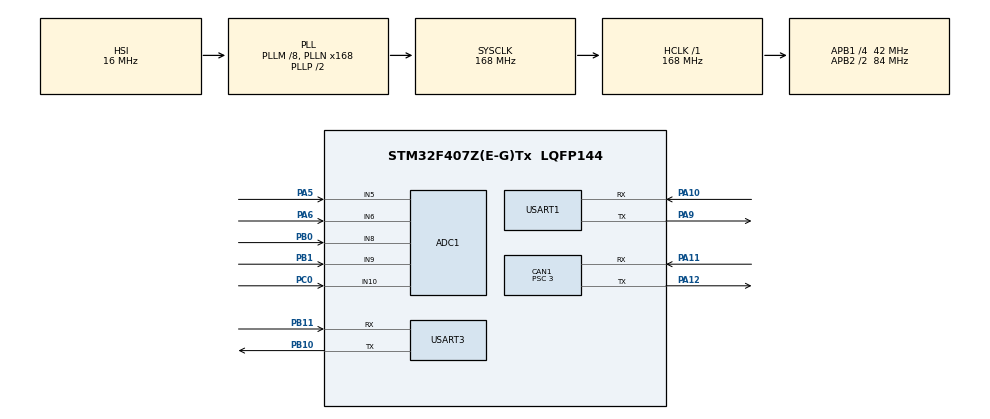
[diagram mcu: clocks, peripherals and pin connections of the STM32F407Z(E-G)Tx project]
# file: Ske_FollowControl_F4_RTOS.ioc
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ADC1.Channel-12\#ChannelRegularConversion=ADC_CHANNEL_5
ADC1.Channel-13\#ChannelRegularConversion=ADC_CHANNEL_6
ADC1.Channel-14\#ChannelRegularConversion=ADC_CHANNEL_8
ADC1.Channel-16\#ChannelRegularConversion=ADC_CHANNEL_9
ADC1.Channel-17\#ChannelRegularConversion=ADC_CHANNEL_10
ADC1.DiscontinuousConvMode=ENABLE
ADC1.NbrOfConversion=5
ADC1.NbrOfConversionFlag=1
ADC1.Rank-12\#ChannelRegularConversion=1
ADC1.Rank-13\#ChannelRegularConversion=2
ADC1.Rank-14\#ChannelRegularConversion=3
ADC1.Rank-16\#ChannelRegularConversion=4
ADC1.Rank-17\#ChannelRegularConversion=5
ADC1.SamplingTime-12\#ChannelRegularConversion=ADC_SAMPLETIME_3CYCLES
ADC1.SamplingTime-13\#ChannelRegularConversion=ADC_SAMPLETIME_3CYCLES
ADC1.SamplingTime-14\#ChannelRegularConversion=ADC_SAMPLETIME_3CYCLES
ADC1.SamplingTime-16\#ChannelRegularConversion=ADC_SAMPLETIME_3CYCLES
ADC1.SamplingTime-17\#ChannelRegularConversion=ADC_SAMPLETIME_3CYCLES
ADC1.ScanConvMode=ENABLE
ADC1.master=1
CAN1.ABOM=ENABLE
CAN1.AWUM=ENABLE
CAN1.BS1=CAN_BS1_10TQ
CAN1.BS2=CAN_BS2_3TQ
CAN1.CalculateBaudRate=1000000
CAN1.CalculateTimeBit=1000
CAN1.CalculateTimeQuantum=71.42857142857143
CAN1.Prescaler=3
Mcu.Family=STM32F4
Mcu.Name=STM32F407Z(E-G)Tx
Mcu.Package=LQFP144
NVIC.CAN1_RX0_IRQn=true\:0\:0\:false\:false\:true\:true\:true\:true
NVIC.PriorityGroup=NVIC_PRIORITYGROUP_4
NVIC.TIM2_IRQn=true\:2\:0\:true\:false\:true\:true\:true\:true
NVIC.TIM4_IRQn=true\:3\:0\:true\:false\:true\:true\:true\:true
NVIC.USART1_IRQn=true\:3\:0\:true\:false\:true\:true\:true\:true
NVIC.USART3_IRQn=true\:3\:0\:true\:false\:true\:true\:true\:true
PA10.Mode=Asynchronous
PA10.Signal=USART1_RX
PA11.Mode=CAN_Activate
PA11.Signal=CAN1_RX
PA12.Mode=CAN_Activate
PA12.Signal=CAN1_TX
PA13.Mode=Serial_Wire
PA13.Signal=SYS_JTMS-SWDIO
PA14.Mode=Serial_Wire
PA14.Signal=SYS_JTCK-SWCLK
PA5.Signal=ADCx_IN5
PA6.Signal=ADCx_IN6
PA9.Mode=Asynchronous
PA9.Signal=USART1_TX
PB0.Signal=ADCx_IN8
PB1.Signal=ADCx_IN9
PB10.Mode=Asynchronous
PB10.Signal=USART3_TX
PB11.Mode=Asynchronous
PB11.Signal=USART3_RX
PC0.Signal=ADCx_IN10
PH0-OSC_IN.Mode=HSE-External-Oscillator
PH0-OSC_IN.Signal=RCC_OSC_IN
PH1-OSC_OUT.Mode=HSE-External-Oscillator
PH1-OSC_OUT.Signal=RCC_OSC_OUT
ProjectManager.HeapSize=0x200
ProjectManager.StackSize=0x400
ProjectManager.TargetToolchain=MDK-ARM V5.32
RCC.48MHZClocksFreq_Value=84000000
RCC.AHBFreq_Value=168000000
RCC.APB1CLKDivider=RCC_HCLK_DIV4
RCC.APB1Freq_Value=42000000
RCC.APB1TimFreq_Value=84000000
RCC.APB2CLKDivider=RCC_HCLK_DIV2
RCC.APB2Freq_Value=84000000
RCC.APB2TimFreq_Value=168000000
RCC.CortexFreq_Value=168000000
RCC.HCLKFreq_Value=168000000
RCC.HSE_VALUE=25000000
RCC.HSI_VALUE=16000000
RCC.LSE_VALUE=32768
RCC.PLLM=8
RCC.PLLN=168
RCC.SYSCLKFreq_VALUE=168000000
RCC.SYSCLKSource=RCC_SYSCLKSOURCE_PLLCLK
RCC.VCOOutputFreq_Value=336000000
SH.ADCx_IN10.0=ADC1_IN10,IN10
SH.ADCx_IN5.0=ADC1_IN5,IN5
SH.ADCx_IN6.0=ADC1_IN6,IN6
SH.ADCx_IN8.0=ADC1_IN8,IN8
SH.ADCx_IN9.0=ADC1_IN9,IN9
TIM2.Period=499
TIM2.Prescaler=8399
TIM3.Period=65535
TIM3.Prescaler=83
TIM4.Period=499
TIM4.Prescaler=16800-1
USART1.VirtualMode=VM_ASYNC
USART3.VirtualMode=VM_ASYNC
VP_TIM2_VS_ClockSourceINT.Mode=Internal
VP_TIM3_VS_ClockSourceINT.Mode=Internal
VP_TIM4_VS_ClockSourceINT.Mode=Internal
board=custom

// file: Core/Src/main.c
/* USER CODE BEGIN Header */
/**
  ******************************************************************************
  * @file           : main.c
  * @brief          : Main program body
  ******************************************************************************
  * @attention
  *
  * Copyright (c) 2023 STMicroelectronics.
  * All rights reserved.
  *
  * This software is licensed under terms that can be found in the LICENSE file
  * in the root directory of this software component.
  * If no LICENSE file comes with this software, it is provided AS-IS.
  *
  ******************************************************************************
  */
/* USER CODE END Header */
#include "main.h"
#include "adc.h"
#include "can.h"
#include "tim.h"
#include "usart.h"
#include "gpio.h"

/* USER CODE BEGIN Includes */
#include "lkmoto.h"
#include "stdio.h"
#include "ids830can.h"
#include "Sensors_reading.h"
#include "fourier_series_traj_exciting.h"
#include "esp8266.h"
#include "protocol.h"

/* USER CODE END Includes */

/* USER CODE BEGIN PD */
//#define EXCITE_TRAJ_EXPERI
// #define wifi_test
#define compensation_experi
/* USER CODE END PD */

void SystemClock_Config(void);

int main(void)
{

  /* MCU Configuration--------------------------------------------------------*/

  /* Reset of all peripherals, Initializes the Flash interface and the Systick. */
  HAL_Init();

  /* Configure the system clock */
  SystemClock_Config();

  /* Initialize all configured peripherals */
  MX_GPIO_Init();
  MX_ADC1_Init();
  MX_CAN1_Init();
  MX_TIM2_Init();
  MX_TIM3_Init();
  MX_USART1_UART_Init();
  MX_USART3_UART_Init();
  MX_TIM4_Init();
  /* USER CODE BEGIN 2 */
  CAN_Filter_Init();
  protocol_init();
#ifdef wifi_test
	//WIFI模块初始化
	// HAL_UART_Receive_IT(&huart3, &temp_rx, 1);
  __HAL_UART_ENABLE_IT(&huart3,UART_IT_RXNE);
	HAL_TIM_Base_Start_IT(&htim4);

	// if(esp8266_server_config())
	// {
	// 	printf("WIFI模块服务器配置失败！\r\n");
	// }
  uint8_t testbuf[8] = {0};

  // read_handskeleton();

	while(1)
  {
    // for(int i=0; i<8; i++)
    // {
    //   testbuf[i] = i;
    // }
    // can_send(testbuf, 40);
    read_handskeleton();
    Delay_ms(50);

    for(int i=0; i<6; i++)
    {
      set_computer_value(SEND_MESSAGE_CMD, i, wifisendbuf[i], 24);
      printf("wireless data%d send\r\n", i);
      Delay_ms(50);
    }
	}

//	USART3_RX_STA=0;
//	if(USART3_RX_STA&0X8000)//接收到期待的应答结果
//	{
//		printf("%s", USART3_RX_BUF);
//		USART3_RX_STA=0;
//	}
#endif

#ifdef EXCITE_TRAJ_EXPERI
	CAN_Filter_Init();
	traj_exciting_init();
//运行电机motor1~motor5
 	for(int i=2;i<=6;i++)
 	{
 		motor_run(i);
 	}
#endif

#ifdef compensation_experi
	// CAN_Filter_Init();
//运行电机motor1~motor5
 	for(int i=2;i<=6;i++)
 	{
 		motor_run(i);
 	}

	//外骨骼初始位置
  // ske_base_position();
  for(int i=1; i<=6; i++)
	{
		if(i == 1)
			LinearActuator_startRun_maxspeed_position(i, 0, 30);

		else if(i == 5)
			motor_run(i);
		// else if(i == 5)
		// 	angle_close_loop_with_speed(i, 0, 30);

		else
			angle_close_loop_with_speed(i, 0, 30);

    HAL_Delay(50);
	}

	HAL_Delay(1000);
#endif

#ifdef SET_ZERO_POSITION
//写入当前位置到ROM作为零点(多次写入会影响芯片寿命，不建议频繁使用)
 	HAL_Delay(1000);
 	for(int i=1;i<=6;i++)
 	{
 		write_current_position_to_rom(i);
 		HAL_Delay(500);
 	}
	printf("zero point set successfully!");
#endif

#ifdef EXCITE_TRAJ_EXPERI
//外骨骼初始位置
  ske_base_position();

//先读取一次各关节数据
	for(int i=1; i<=6; i++)
	{
		if(i == 1)
		{
			LinearActuator_read_position(i);
			LinearActuator_read_CurrentandSpeed(i);
			pressure_SensorReading();
		}
		else
		{
			read_status2(i);
			read_angle(i);
		}
	}

//开启定时器中断：每隔0.05s发送一次控制命令
	HAL_TIM_Base_Start_IT(&htim2);
  printf("Exciting traj experiment start!!!\r\n");
#endif

// L_Pres_filter_1(10);
// for(int i=0; i<ADC_CHANNELS; i++)
// {
//   ADC_Pressure_InitValue[i] = ADC_Pressure_Value_filter[i];
// }

// ids830_compensation_PID_Init(ids830_pid);
  /* USER CODE END 2 */

  /* Infinite loop */
  /* USER CODE BEGIN WHILE */
//  while (motor_control_k < 400)
	while(1)
  {
    /* USER CODE END WHILE */

    /* USER CODE BEGIN 3 */
    // read_angle(2);
    // can_send(testbuf, 40);
    // HAL_Delay(50);
		// compensation_singleJoint_GF(4);
    compensation_singleJoint_GF_angle(5);

    // LinearActuator_read_position(1);
    // printf("LinearActuator_position%d: %.3f mm\r\n", 1, LinAcr_position_float);
    // LinearActuator_compensation_LOW();
#ifdef EXCITE_TRAJ_EXPERI
//		read_all_joint_message();
//		for(int i=1; i<=6; i++)
//		{
//			if(i == 1)
//			{
//				LinearActuator_read_position(i);
//				LinearActuator_read_CurrentandSpeed(i);
//				pressure_SensorReading();
//			}
//			else
//				read_status2(i);
//			  read_angle(i);
//		}

//		if(motor_control_k > 400)
//		{
//			printf("Exciting traj experiment end!!!\r\n");
//			break;
//		}
#endif
  }

#ifdef EXCITE_TRAJ_EXPERI
	printf("Exciting traj experiment end!!!\r\n");
	HAL_Delay(500);
	for(int i=1; i<=6; i++)
	{
		if(i == 1)
			LinearActuator_startRun_maxspeed_position(i, 0, 30);

		else if(i == 4)
			angle_close_loop_with_speed(i, 0, 30);
		else if(i == 5)
			angle_close_loop_with_speed(i, 0, 30);
		else if(i == 6)
			angle_close_loop_with_speed(i, 0, 30);

		else
			angle_close_loop_with_speed(i, 0, 30);
	}
	printf("Zero position!!!\n");
#endif
  /* USER CODE END 3 */
}

void SystemClock_Config(void)
{
  RCC_OscInitTypeDef RCC_OscInitStruct = {0};
  RCC_ClkInitTypeDef RCC_ClkInitStruct = {0};

  /** Configure the main internal regulator output voltage
  */
  __HAL_RCC_PWR_CLK_ENABLE();
  __HAL_PWR_VOLTAGESCALING_CONFIG(PWR_REGULATOR_VOLTAGE_SCALE1);

  /** Initializes the RCC Oscillators according to the specified parameters
  * in the RCC_OscInitTypeDef structure.
  */
  RCC_OscInitStruct.OscillatorType = RCC_OSCILLATORTYPE_HSI;
  RCC_OscInitStruct.HSIState = RCC_HSI_ON;
  RCC_OscInitStruct.HSICalibrationValue = RCC_HSICALIBRATION_DEFAULT;
  RCC_OscInitStruct.PLL.PLLState = RCC_PLL_ON;
  RCC_OscInitStruct.PLL.PLLSource = RCC_PLLSOURCE_HSI;
  RCC_OscInitStruct.PLL.PLLM = 8;
  RCC_OscInitStruct.PLL.PLLN = 168;
  RCC_OscInitStruct.PLL.PLLP = RCC_PLLP_DIV2;
  RCC_OscInitStruct.PLL.PLLQ = 4;
  if (HAL_RCC_OscConfig(&RCC_OscInitStruct) != HAL_OK)
  {
    Error_Handler();
  }

  /** Initializes the CPU, AHB and APB buses clocks
  */
  RCC_ClkInitStruct.ClockType = RCC_CLOCKTYPE_HCLK|RCC_CLOCKTYPE_SYSCLK
                              |RCC_CLOCKTYPE_PCLK1|RCC_CLOCKTYPE_PCLK2;
  RCC_ClkInitStruct.SYSCLKSource = RCC_SYSCLKSOURCE_PLLCLK;
  RCC_ClkInitStruct.AHBCLKDivider = RCC_SYSCLK_DIV1;
  RCC_ClkInitStruct.APB1CLKDivider = RCC_HCLK_DIV4;
  RCC_ClkInitStruct.APB2CLKDivider = RCC_HCLK_DIV2;

  if (HAL_RCC_ClockConfig(&RCC_ClkInitStruct, FLASH_LATENCY_5) != HAL_OK)
  {
    Error_Handler();
  }
}

void Error_Handler(void)
{
  __disable_irq();
  while (1)
  {
  }
}
